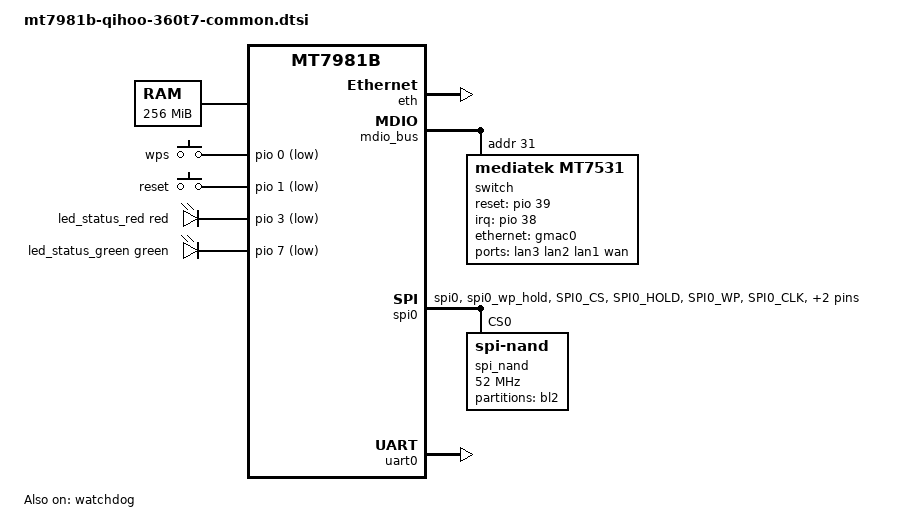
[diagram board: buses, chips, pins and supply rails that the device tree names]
// SPDX-License-Identifier: GPL-2.0-or-later OR MIT

/dts-v1/;
#include <dt-bindings/gpio/gpio.h>
#include <dt-bindings/input/input.h>
#include <dt-bindings/leds/common.h>
#include <dt-bindings/pinctrl/mt65xx.h>

#include "mt7981b.dtsi"

/ {
	aliases: aliases {
		led-boot = &led_status_red;
		led-failsafe = &led_status_red;
		led-running = &led_status_green;
		led-upgrade = &led_status_green;

		serial0 = &uart0;
	};

	chosen {
		bootargs-append = " root=/dev/fit0 rootwait";
		rootdisk = <&ubi_rootdisk>;
		stdout-path = "serial0:115200n8";
	};

	memory@40000000 {
		reg = <0 0x40000000 0 0x10000000>;
		device_type = "memory";
	};

	gpio-keys {
		compatible = "gpio-keys";

		button-0 {
			label = "wps";
			linux,code = <KEY_WPS_BUTTON>;
			gpios = <&pio 0 GPIO_ACTIVE_LOW>;
		};

		button-1 {
			label = "reset";
			linux,code = <KEY_RESTART>;
			gpios = <&pio 1 GPIO_ACTIVE_LOW>;
		};
	};

	leds {
		compatible = "gpio-leds";

		led_status_red: led-0 {
			function = LED_FUNCTION_STATUS;
			color = <LED_COLOR_ID_RED>;
			gpios = <&pio 3 GPIO_ACTIVE_LOW>;
		};

		led_status_green: led-1 {
			function = LED_FUNCTION_STATUS;
			color = <LED_COLOR_ID_GREEN>;
			gpios = <&pio 7 GPIO_ACTIVE_LOW>;
		};
	};
};

&eth {
	status = "okay";

	gmac0: mac@0 {
		compatible = "mediatek,eth-mac";
		reg = <0>;
		phy-mode = "2500base-x";

		fixed-link {
			speed = <2500>;
			full-duplex;
			pause;
		};
	};
};

&mdio_bus {
	switch: switch@1f {
		compatible = "mediatek,mt7531";
		reg = <31>;
		reset-gpios = <&pio 39 GPIO_ACTIVE_HIGH>;
		interrupt-controller;
		#interrupt-cells = <1>;
		interrupt-parent = <&pio>;
		interrupts = <38 IRQ_TYPE_LEVEL_HIGH>;
	};
};

&spi0 {
	pinctrl-names = "default";
	pinctrl-0 = <&spi0_flash_pins>;
	status = "okay";

	spi_nand@0 {
		compatible = "spi-nand";
		reg = <0>;

		spi-max-frequency = <52000000>;
		spi-tx-bus-width = <4>;
		spi-rx-bus-width = <4>;

		partitions: partitions {
			compatible = "fixed-partitions";
			#address-cells = <1>;
			#size-cells = <1>;

			partition@0 {
				label = "bl2";
				reg = <0x0 0x100000>;
				read-only;
			};
		};
	};
};

&switch {
	ports {
		#address-cells = <1>;
		#size-cells = <0>;

		port@0 {
			reg = <0>;
			label = "lan3";
		};

		port@1 {
			reg = <1>;
			label = "lan2";
		};

		port@2 {
			reg = <2>;
			label = "lan1";
		};

		wan: port@3 {
			reg = <3>;
			label = "wan";
		};

		port@6 {
			reg = <6>;
			ethernet = <&gmac0>;
			phy-mode = "2500base-x";

			fixed-link {
				speed = <2500>;
				full-duplex;
				pause;
			};
		};
	};
};

&pio {
	spi0_flash_pins: spi0-pins {
		mux {
			function = "spi";
			groups = "spi0", "spi0_wp_hold";
		};

		conf-pu {
			pins = "SPI0_CS", "SPI0_HOLD", "SPI0_WP";
			drive-strength = <MTK_DRIVE_8mA>;
			bias-disable; /* bias-disable */
		};

		conf-pd {
			pins = "SPI0_CLK", "SPI0_MOSI", "SPI0_MISO";
			drive-strength = <MTK_DRIVE_8mA>;
			bias-disable; /* bias-disable */
		};
	};
};

&uart0 {
	status = "okay";
};

&watchdog {
	status = "okay";
};
